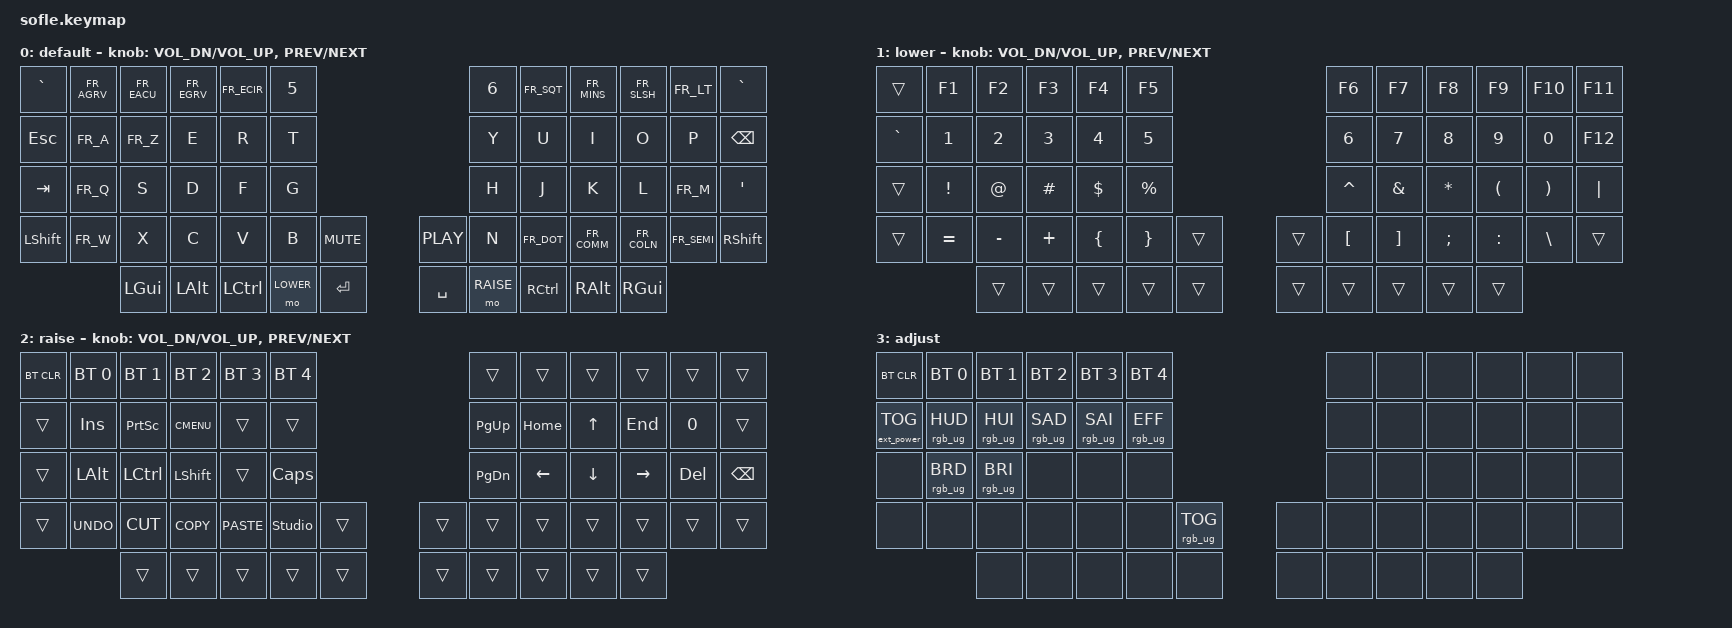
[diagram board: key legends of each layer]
/*
* Copyright (c) 2020 The ZMK Contributors
*
* SPDX-License-Identifier: MIT
*/

#include <behaviors.dtsi>
#include <dt-bindings/zmk/keys.h>
#include <dt-bindings/zmk/bt.h>
#include <dt-bindings/zmk/rgb.h>
#include <dt-bindings/zmk/ext_power.h>

#include "keys_fr_afnor.h"

#define BASE 0
#define LOWER 1
#define RAISE 2
#define ADJUST 3

/ {

  // Activate ADJUST layer by pressing raise and lower
  conditional_layers {
    compatible = "zmk,conditional-layers";
    adjust_layer {
      if-layers = <LOWER RAISE>;
      then-layer = <ADJUST>;
    };
  };

  keymap {
    compatible = "zmk,keymap";

    default_layer {
      display-name = "default";
      // ------------------------------------------------------------------------------------------------------------
      // |   @   |  à  |  é  |  è   |  ê   |  (   |                   |  )   |  '    |  -    |  _   |   /   |   <   |
      // |  ESC  |  A  |  z  |  E   |  R   |  T   |                   |  Y   |  U    |  I    |  O   |   P   | BKSPC |
      // |  TAB  |  Q  |  S  |  D   |  F   |  G   |                   |  H   |  J    |  K    |  L   |   M   |   '   |
      // | SHIFT |  W  |  X  |  C   |  V   |  B   |  MUTE  |  | PLAY  |  N   |  .    |  ,    |  :   |   ;   | SHIFT |
      //               | GUI | ALT  | CTRL | LOWER|  ENTER |  | SPACE | RAISE| CTRL  | ALT   | GUI  |
      bindings = <
        &kp GRAVE &kp FR_AGRV &kp FR_EACU &kp FR_EGRV &kp FR_ECIR &kp N5                           &kp N6 &kp FR_SQT &kp FR_MINS  &kp FR_SLSH  &kp FR_LT   &kp GRAVE
        &kp ESC   &kp FR_A    &kp FR_Z    &kp E       &kp R       &kp T                            &kp Y  &kp U      &kp I        &kp O        &kp P       &kp BSPC
        &kp TAB   &kp FR_Q    &kp S       &kp D       &kp F       &kp G                            &kp H  &kp J      &kp K        &kp L        &kp FR_M    &kp SQT
        &kp LSHFT &kp FR_W    &kp X       &kp C       &kp V       &kp B   &kp C_MUTE &kp C_PLAY    &kp N  &kp FR_DOT &kp FR_COMM  &kp FR_COLN  &kp FR_SEMI &kp RSHFT
        &kp LGUI &kp LALT &kp LCTRL &mo LOWER  &kp RET    &kp SPACE  &mo RAISE  &kp RCTRL &kp RALT  &kp RGUI
      >;

      sensor-bindings = <&inc_dec_kp C_VOL_DN C_VOL_UP &inc_dec_kp C_PREV C_NEXT>;
    };

    lower_layer {
      display-name = "lower";
      // ------------------------------------------------------------------------------------------------------------
      // |       |  F1 |  F2 |  F3  |  F4  |  F5  |                   |  F6  |  F7   |  F8   |  F9  |  F10  |  F11  |
      // |   `   |  1  |  2  |  3   |  4   |  5   |                   |  6   |  7    |  8    |  9   |   0   |  F12  |
      // |       |  !  |  @  |  #   |  $   |  %   |                   |  ^   |  &    |  *    |  (   |   )   |   |   |
      // |       |  =  |  -  |  +   |  {   |  }   |        |  |       |  [   |  ]    |  ;    |  :   |   \   |       |
      //               |     |      |      |      |        |  |       |      |       |       |      |
      bindings = <
        &trans    &kp F1    &kp F2    &kp F3      &kp F4    &kp F5                    &kp F6    &kp F7   &kp F8    &kp F9    &kp F10   &kp F11
        &kp GRAVE &kp N1    &kp N2    &kp N3      &kp N4    &kp N5                    &kp N6    &kp N7   &kp N8    &kp N9    &kp N0    &kp F12
        &trans    &kp EXCL  &kp AT    &kp HASH    &kp DLLR  &kp PRCNT                 &kp CARET &kp AMPS &kp ASTRK &kp LPAR  &kp RPAR  &kp PIPE
        &trans    &kp EQUAL &kp MINUS &kp PLUS &kp LBRC  &kp RBRC   &trans &trans  &kp LBKT  &kp RBKT &kp SEMI  &kp COLON &kp BSLH  &trans
        &trans    &trans      &trans    &trans     &trans &trans  &trans    &trans   &trans    &trans
      >;

      sensor-bindings = <&inc_dec_kp C_VOL_DN C_VOL_UP &inc_dec_kp C_PREV C_NEXT>;
    };

    raise_layer {
      display-name = "raise";
      // ------------------------------------------------------------------------------------------------------------
      // | BTCLR | BT1  | BT2  |  BT3  |  BT4  |  BT5 |                |      |      |       |      |       |       |
      // |       | INS  | PSCR | GUI   |       |      |                | PGUP | HOME |   ^   |  END |       |       |
      // |       | ALT  | CTRL | SHIFT |       | CAPS |                | PGDN |   <- |   v   |  ->  |  DEL  | BKSPC |
      // |       | UNDO | CUT  | COPY  | PASTE |      |      |  |      |      |      |       |      |       |       |
      //                |      |       |       |      |      |  |      |      |      |       |      |
      bindings = <
        &bt BT_CLR &bt BT_SEL 0 &bt BT_SEL 1 &bt BT_SEL 2 &bt BT_SEL 3 &bt BT_SEL 4                  &trans    &trans    &trans   &trans    &trans  &trans
        &trans     &kp INS      &kp PSCRN    &kp K_CMENU  &trans       &trans                        &kp PG_UP &kp HOME  &kp UP   &kp END   &kp N0  &trans
        &trans     &kp LALT     &kp LCTRL    &kp LSHFT    &trans       &kp CLCK                      &kp PG_DN &kp LEFT  &kp DOWN &kp RIGHT &kp DEL &kp BSPC
        &trans     &kp K_UNDO   &kp K_CUT    &kp K_COPY   &kp K_PASTE  &studio_unlock        &trans  &trans  &trans    &trans    &trans   &trans    &trans  &trans
        &trans       &trans       &trans       &trans        &trans  &trans  &trans    &trans    &trans   &trans
      >;

      sensor-bindings = <&inc_dec_kp C_VOL_DN C_VOL_UP &inc_dec_kp C_PREV C_NEXT>;
    };

    adjust_layer {
      // ----------------------------------------------------------------------------------------------------------------------------
      // | BTCLR  |  BT1    |  BT2    |   BT3   |   BT4   |   BT5   |                  |      |      |       |      |       |       |
      // | EXTPWR | RGB_HUD | RGB_HUI | RGB_SAD | RGB_SAI | RGB_EFF |                  |      |      |       |      |       |       |
      // |        | RGB_BRD | RGB_BRI |         |         |         |                  |      |      |       |      |       |       |
      // |        |         |         |         |         |         | RGB_TOG | |      |      |      |       |      |       |       |
      //                    |         |         |         |         |         | |      |      |      |       |      |
      display-name = "adjust";
      bindings = <
        &bt BT_CLR        &bt BT_SEL 0    &bt BT_SEL 1    &bt BT_SEL 2    &bt BT_SEL 3    &bt BT_SEL 4                            &none &none &none &none &none &none
        &ext_power EP_TOG &rgb_ug RGB_HUD &rgb_ug RGB_HUI &rgb_ug RGB_SAD &rgb_ug RGB_SAI &rgb_ug RGB_EFF                         &none &none &none &none &none &none
        &none             &rgb_ug RGB_BRD &rgb_ug RGB_BRI &none           &none           &none                                   &none &none &none &none &none &none
        &none             &none           &none           &none           &none           &none            &rgb_ug RGB_TOG &none  &none &none &none &none &none &none
        &none           &none           &none           &none            &none           &none  &none &none &none &none
      >;
    };
  };
};
